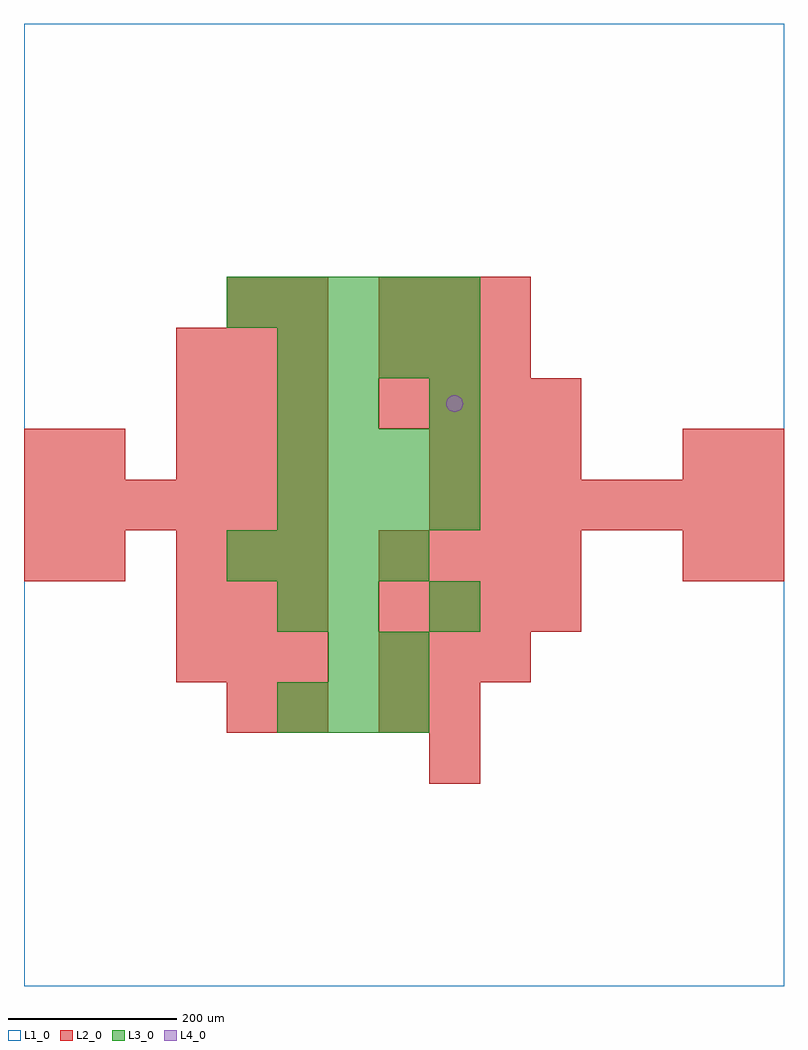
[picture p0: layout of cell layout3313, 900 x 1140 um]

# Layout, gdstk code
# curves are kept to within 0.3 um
import gdstk
lib = gdstk.Library(unit=1e-6, precision=1e-09)
def R(c, l, rs):  # rectangles x0, y0, x1, y1
    for r in rs: c.add(gdstk.rectangle(r[:2], r[2:], *l))
def A(c, l, x, y, w, h, nx, ny, dx, dy):  # array of equal rectangles
    R(c, l, [(x+i*dx, y+j*dy, x+i*dx+w, y+j*dy+h) for i in range(nx) for j in range(ny)])
def P(c, l, *ps):  # polygons
    for p in ps: c.add(gdstk.Polygon(p, *l))
L1_0 = (1, 0)
L2_0 = (2, 0)
L3_0 = (3, 0)
L4_0 = (4, 0)

layout3313 = lib.new_cell('layout3313')
R(layout3313, L1_0, [(0,0,900,1140)])
A(layout3313, L2_0, 180, 360, 60, 60, 3, 3, 60, 60)
A(layout3313, L2_0, 420, 360, 60, 60, 3, 2, 60, 360)
A(layout3313, L2_0, 420, 420, 60, 60, 4, 2, 60, 60)
A(layout3313, L2_0, 0, 540, 60, 60, 6, 1, 60, 0)
A(layout3313, L2_0, 480, 540, 60, 60, 7, 1, 60, 0)
A(layout3313, L2_0, 180, 600, 60, 60, 3, 3, 60, 60)
A(layout3313, L2_0, 480, 600, 60, 60, 3, 1, 60, 0)
A(layout3313, L2_0, 420, 660, 60, 60, 4, 1, 60, 0)
A(layout3313, L2_0, 420, 780, 60, 60, 3, 1, 60, 0)
R(layout3313, L2_0, [(480,240,540,300), (240,300,300,360), (300,300,360,360), (420,300,480,360), (480,300,540,360), (0,480,60,540), (60,480,120,540), (780,480,840,540), (840,480,900,540), (0,600,60,660), (60,600,120,660), (780,600,840,660), (840,600,900,660), (240,780,300,840), (300,780,360,840)])
A(layout3313, L3_0, 300, 300, 60, 60, 3, 1, 60, 0)
A(layout3313, L3_0, 240, 480, 60, 60, 4, 1, 60, 0)
A(layout3313, L3_0, 300, 540, 60, 60, 4, 2, 60, 60)
A(layout3313, L3_0, 300, 720, 60, 60, 4, 1, 60, 0)
A(layout3313, L3_0, 240, 780, 60, 60, 5, 1, 60, 0)
R(layout3313, L3_0, [(360,360,420,420), (420,360,480,420), (300,420,360,480), (360,420,420,480), (480,420,540,480), (300,660,360,720), (360,660,420,720), (480,660,540,720)])
P(layout3313, L4_0, [(520,690),(519.239,693.827),(517.071,697.071),(513.827,699.239),(510,700),(506.173,699.239),(502.929,697.071),(500.761,693.827),(500,690),(500.761,686.173),(502.929,682.929),(506.173,680.761),(510,680),(513.827,680.761),(517.071,682.929),(519.239,686.173)])

lib.write_gds('layout3313.gds')
